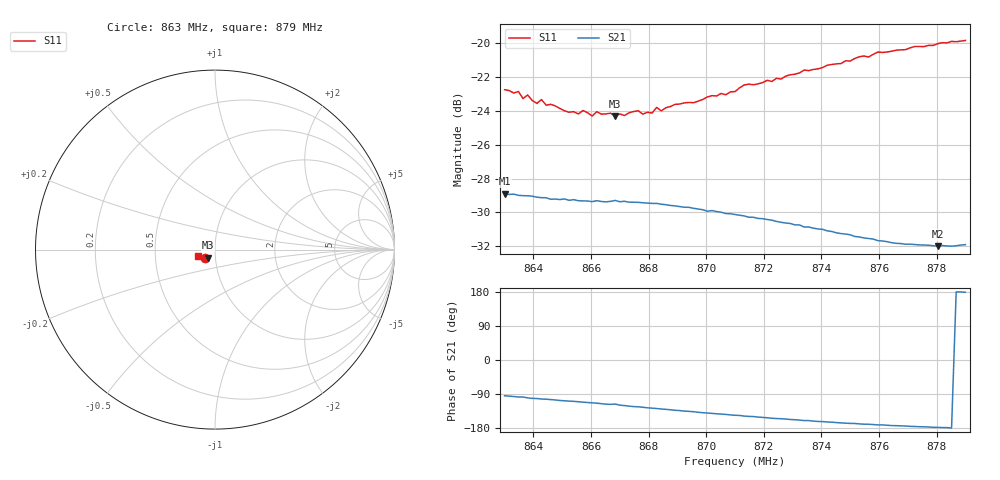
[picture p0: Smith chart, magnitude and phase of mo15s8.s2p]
# HZ S RI R 50
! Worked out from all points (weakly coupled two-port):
!   101 points, 863 MHz to 879 MHz, reference 50 ohm
!   highest |S21| = -28.90 dB at 863 MHz (marker M1); lowest = -32.0 dB at 878.04 MHz (marker M2)
!   lowest |S11| = -24.3 dB at 866.84 MHz (marker M3), VSWR 1.13, Z = 45.9 - j4.17 ohm
!   |S11| at or under -10 dB: start of sweep to end of sweep
!   S12 and S22 are empty: the file has one direction only
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8.63e8  -0.0577 -0.0446  -0.00277 -0.0358  0 0  0 0
8.6348e8  -0.057 -0.044  -0.00474 -0.0352  0 0  0 0
8.6364e8  -0.0531 -0.0434  -0.00479 -0.0351  0 0  0 0
8.638e8  -0.0552 -0.0436  -0.00608 -0.0349  0 0  0 0
8.6412e8  -0.0514 -0.0421  -0.00712 -0.0343  0 0  0 0
8.6428e8  -0.0532 -0.0427  -0.00785 -0.0341  0 0  0 0
8.6444e8  -0.0506 -0.0418  -0.00813 -0.034  0 0  0 0
8.6524e8  -0.0467 -0.0416  -0.0109 -0.0326  0 0  0 0
8.6572e8  -0.0457 -0.0438  -0.0124 -0.0319  0 0  0 0
8.6604e8  -0.0444 -0.0418  -0.0133 -0.0313  0 0  0 0
8.662e8  -0.0449 -0.0439  -0.0139 -0.0313  0 0  0 0
8.6684e8  -0.0408 -0.0452  -0.0152 -0.0308  0 0  0 0
8.6764e8  -0.0422 -0.0471  -0.0187 -0.0282  0 0  0 0
8.6812e8  -0.0402 -0.0475  -0.0202 -0.0268  0 0  0 0
8.6828e8  -0.041 -0.0499  -0.0207 -0.0265  0 0  0 0
8.6844e8  -0.0401 -0.0487  -0.0212 -0.0258  0 0  0 0
8.71e8  -0.0463 -0.0552  -0.0258 -0.0175  0 0  0 0
8.7132e8  -0.0491 -0.0571  -0.0262 -0.0164  0 0  0 0
8.7372e8  -0.0596 -0.0588  -0.0269 -0.00915  0 0  0 0
8.7644e8  -0.0796 -0.0513  -0.0255 -0.00311  0 0  0 0
8.7804e8  -0.0903 -0.0425  -0.0251 -0.000969  0 0  0 0
8.79e8  -0.0964 -0.0333  -0.0254 0.00055  0 0  0 0
